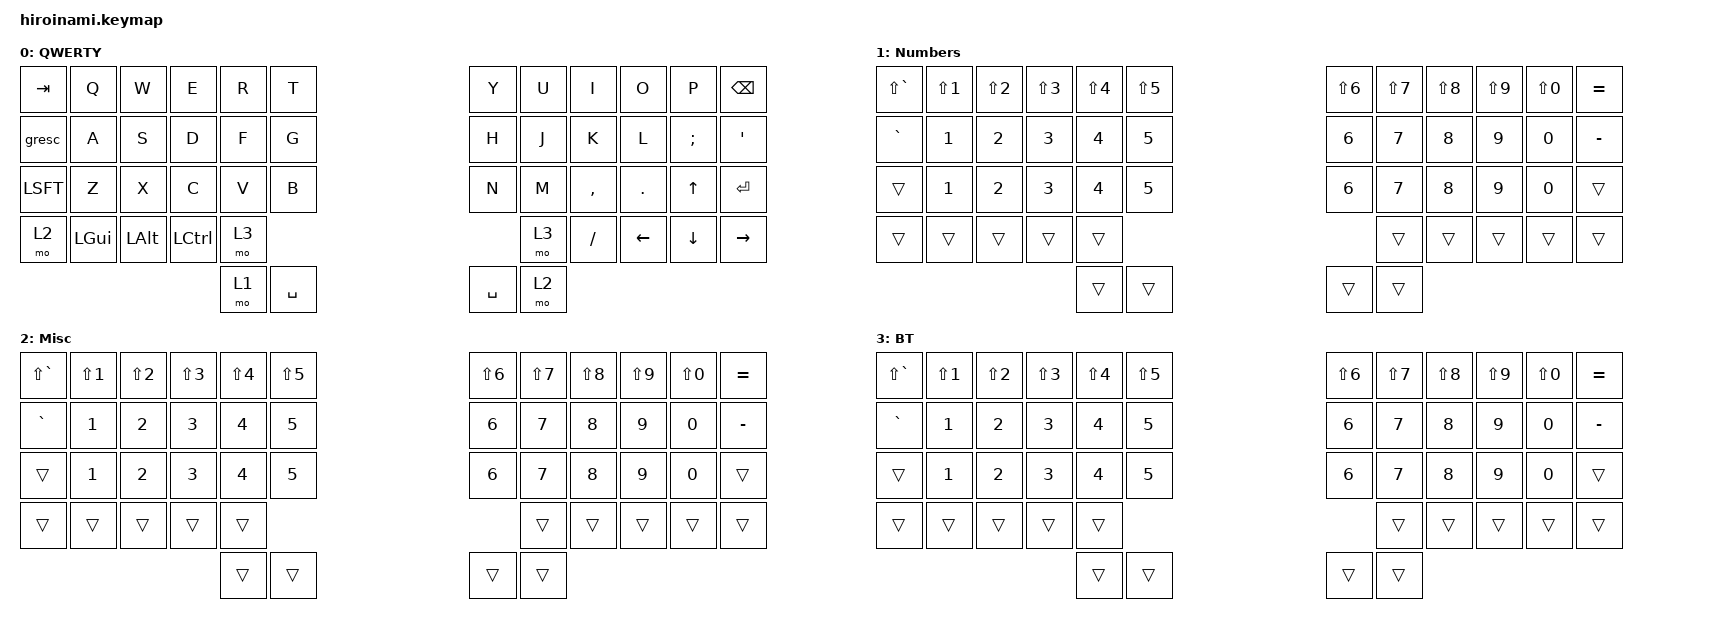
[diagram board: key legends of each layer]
/*
 * Copyright (c) 2024 The ZMK Contributors
 *
 * SPDX-License-Identifier: MIT
 */

#include <behaviors.dtsi>
#include <dt-bindings/zmk/bt.h>
#include <dt-bindings/zmk/keys.h>
#include <dt-bindings/zmk/outputs.h>

/{
    keymap {
        compatible = "zmk,keymap";

        default {
            display-name = "QWERTY";
            bindings = <
                &kp TAB  &kp Q     &kp W     &kp E     &kp R     &kp T                               &kp Y     &kp U     &kp I     &kp O     &kp P     &kp BSPC
                &gresc   &kp A     &kp S     &kp D     &kp F     &kp G                               &kp H     &kp J     &kp K     &kp L     &kp SEMI  &kp APOS
                &kp LSFT &kp Z     &kp X     &kp C     &kp V     &kp B                               &kp N     &kp M     &kp COMMA &kp DOT   &kp UP    &kp RET
                &mo 2    &kp LGUI  &kp LALT  &kp LCTRL &mo 3                                                   &mo 3     &kp FSLH  &kp LEFT  &kp DOWN  &kp RIGHT
                                                       &mo 1     &kp SPACE                           &kp SPACE &mo 2     
            >;
        };
        num {
            display-name = "Numbers";
            bindings = <
                &kp LS(GRAVE) &kp LS(N1) &kp LS(N2) &kp LS(N3) &kp LS(N4) &kp LS(N5)                            &kp LS(N6) &kp LS(N7) &kp LS(N8) &kp LS(N9) &kp LS(N0) &kp EQUAL
                &kp GRAVE     &kp N1     &kp N2     &kp N3     &kp N4     &kp N5                                &kp N6     &kp N7     &kp N8     &kp N9     &kp N0     &kp MINUS
                &trans        &kp N1     &kp N2     &kp N3     &kp N4     &kp N5                                &kp N6     &kp N7     &kp N8     &kp N9     &kp N0     &trans
                &trans        &trans     &trans     &trans     &trans                                                      &trans     &trans     &trans     &trans     &trans
                                                               &trans     &trans                                &trans     &trans
            >;
        };
        misc {
            display-name = "Misc";
            bindings = <
                &kp LS(GRAVE) &kp LS(N1) &kp LS(N2) &kp LS(N3) &kp LS(N4) &kp LS(N5)                            &kp LS(N6) &kp LS(N7) &kp LS(N8) &kp LS(N9) &kp LS(N0) &kp EQUAL
                &kp GRAVE     &kp N1     &kp N2     &kp N3     &kp N4     &kp N5                                &kp N6     &kp N7     &kp N8     &kp N9     &kp N0     &kp MINUS
                &trans        &kp N1     &kp N2     &kp N3     &kp N4     &kp N5                                &kp N6     &kp N7     &kp N8     &kp N9     &kp N0     &trans
                &trans        &trans     &trans     &trans     &trans                                                      &trans     &trans     &trans     &trans     &trans
                                                               &trans     &trans                                &trans     &trans   
            >;
        };
        bt {
            display-name = "BT";
            bindings = <
                &kp LS(GRAVE) &kp LS(N1) &kp LS(N2) &kp LS(N3) &kp LS(N4) &kp LS(N5)                            &kp LS(N6) &kp LS(N7) &kp LS(N8) &kp LS(N9) &kp LS(N0) &kp EQUAL
                &kp GRAVE     &kp N1     &kp N2     &kp N3     &kp N4     &kp N5                                &kp N6     &kp N7     &kp N8     &kp N9     &kp N0     &kp MINUS
                &trans        &kp N1     &kp N2     &kp N3     &kp N4     &kp N5                                &kp N6     &kp N7     &kp N8     &kp N9     &kp N0     &trans
                &trans        &trans     &trans     &trans     &trans                                                      &trans     &trans     &trans     &trans     &trans
                                                               &trans     &trans                                &trans     &trans       
            >;
        };
    };
};
